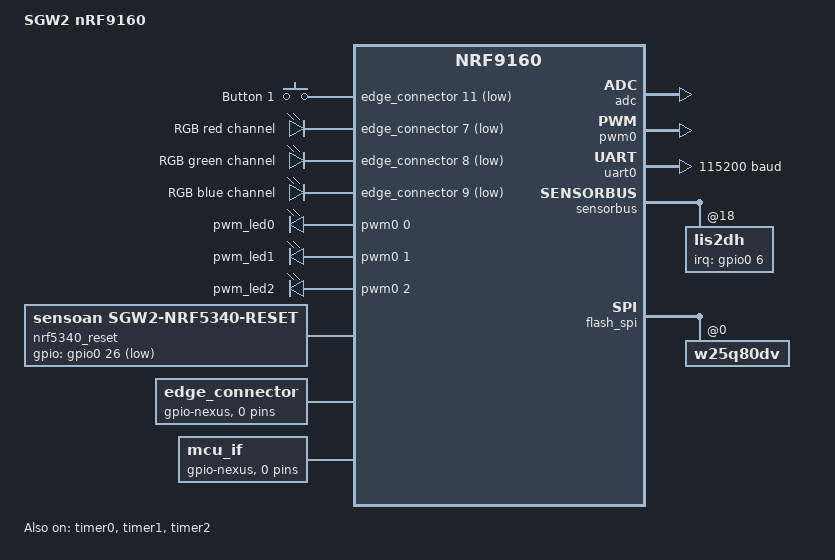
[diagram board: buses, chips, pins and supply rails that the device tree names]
/*
 * Copyright (c) 2022 Nordic Semiconductor ASA
 * Copyright (c) 2024 Sensoan Oy
 *
 * SPDX-License-Identifier: Apache-2.0
 */
#include "sgw2_nrf9160.h"
#include "sgw2_common.dtsi"
#include "sgw2_nrf9160_common-pinctrl.dtsi"

/ {
	model = "SGW2 nRF9160";
	compatible = "sensoan,sgw2-nrf9160";

	chosen {
		zephyr,console = &uart0;
		zephyr,shell-uart = &uart0;
		zephyr,uart-mcumgr = &uart0;
	};

	buttons {
		compatible = "gpio-keys";

		button0: button_0 {
			gpios = <&edge_connector 11 (GPIO_PULL_UP | GPIO_ACTIVE_LOW)>;
			label = "Button 1";
			zephyr,code = <INPUT_KEY_0>;
		};
	};

	leds {
		compatible = "gpio-leds";
		led_red: led_0 {
			gpios = <&edge_connector 7 GPIO_ACTIVE_LOW>;
			label = "RGB red channel";
		};
		led_green: led_1 {
			gpios = <&edge_connector 8 GPIO_ACTIVE_LOW>;
			label = "RGB green channel";
		};
		led_blue: led_2 {
			gpios = <&edge_connector 9 GPIO_ACTIVE_LOW>;
			label = "RGB blue channel";
		};
	};

	pwmleds {
		compatible = "pwm-leds";
		pwm_led0: pwm_led_0 {
			pwms = <&pwm0 0 PWM_MSEC(8) (GPIO_ACTIVE_LOW | PWM_POLARITY_NORMAL)>;
		};
		pwm_led1: pwm_led_1 {
			pwms = <&pwm0 1 PWM_MSEC(8) (GPIO_ACTIVE_LOW | PWM_POLARITY_NORMAL)>;
		};
		pwm_led2: pwm_led_2 {
			pwms = <&pwm0 2 PWM_MSEC(8) (GPIO_ACTIVE_LOW | PWM_POLARITY_NORMAL)>;
		};
	};

	nrf5340_reset: gpio-reset {
		compatible = "sensoan,sgw2-nrf5340-reset";
		status = "okay";
		gpios = <&gpio0 26 GPIO_ACTIVE_LOW>;
	};

	edge_connector: edge_connector {
		compatible = "gpio-nexus";
		#gpio-cells = <2>;
		gpio-map-mask = <0xffffffff 0xffffffc0>;
		gpio-map-pass-thru = <0 0x3f>;
		gpio-map = <7 0 GPIO_AND_PIN(EDGE_CONN, 7) 0>,	/* LED_Red */
				<8 0 GPIO_AND_PIN(EDGE_CONN, 8) 0>,	/* LED_Green */
				<9 0 GPIO_AND_PIN(EDGE_CONN, 9) 0>,	/* LED_Blue */
				<11 0 GPIO_AND_PIN(EDGE_CONN, 11) 0>,	/* BUTTON */
				<17 0 GPIO_AND_PIN(EDGE_CONN, 17) 0>,	/* GPIO */
				<18 0 GPIO_AND_PIN(EDGE_CONN, 18) 0>,	/* GPIO */
				<19 0 GPIO_AND_PIN(EDGE_CONN, 19) 0>,	/* GPIO */
				<20 0 GPIO_AND_PIN(EDGE_CONN, 20) 0>,	/* GPIO */
				<21 0 GPIO_AND_PIN(EDGE_CONN, 21) 0>,	/* GPIO */
				<22 0 GPIO_AND_PIN(EDGE_CONN, 22) 0>,	/* GPIO */
				<23 0 GPIO_AND_PIN(EDGE_CONN, 23) 0>,	/* GPIO */
				<31 0 GPIO_AND_PIN(EDGE_CONN, 31) 0>,	/* I2C_SDA */
				<33 0 GPIO_AND_PIN(EDGE_CONN, 33) 0>,	/* I2C_SCL */
				<38 0 GPIO_AND_PIN(EDGE_CONN, 38) 0>,	/* GPIO */
				<39 0 GPIO_AND_PIN(EDGE_CONN, 39) 0>,	/* GPIO */
				<40 0 GPIO_AND_PIN(EDGE_CONN, 40) 0>,	/* GPIO */
				<41 0 GPIO_AND_PIN(EDGE_CONN, 41) 0>,	/* GPIO */
				<42 0 GPIO_AND_PIN(EDGE_CONN, 42) 0>,	/* GPIO */
				<48 0 GPIO_AND_PIN(EDGE_CONN, 48) 0>;	/* GPIO */
	};

	mcu_if: mcu_if {
		compatible = "gpio-nexus";
		#gpio-cells = <2>;
		gpio-map-mask = <0xffffffff 0xffffffc0>;
		gpio-map-pass-thru = <0 0x3f>;
		gpio-map = <0 0 GPIO_AND_PIN(MCU_IF, 0) 0>,
				<1 0 GPIO_AND_PIN(MCU_IF, 1) 0>,
				<2 0 GPIO_AND_PIN(MCU_IF, 2) 0>,
				<3 0 GPIO_AND_PIN(MCU_IF, 3) 0>,
				<4 0 GPIO_AND_PIN(MCU_IF, 4) 0>,
				<5 0 GPIO_AND_PIN(MCU_IF, 5) 0>,
				<6 0 GPIO_AND_PIN(MCU_IF, 6) 0>;
	};

	aliases {
		sw0 = &button0;
		led0 = &led_red;
		led1 = &led_green;
		led2 = &led_blue;
		pwm-led0 = &pwm_led0;
		pwm-led1 = &pwm_led1;
		pwm-led2 = &pwm_led2;
		rgb-pwm = &pwm0;
		mcuboot-button0 = &button0;
		mcuboot-led0 = &led_blue;
		spi-flash0 = &w25q80dv;
		accel0 = &lis2dh;
		watchdog0 = &wdt0;
	};
};

&adc {
	status = "okay";
};

&gpiote {
	status = "okay";
};

&gpio0 {
	status = "okay";
};

/* PWM0 is intended for RGB LED control */
&pwm0 {
	status = "okay";
	pinctrl-0 = <&pwm0_default>;
	pinctrl-1 = <&pwm0_sleep>;
	pinctrl-names = "default", "sleep";
};

&timer0 {
	status = "okay";
};

&timer1 {
	status = "okay";
};

&timer2 {
	status = "okay";
};

&uart0 {
	compatible = "nordic,nrf-uarte";
	current-speed = <115200>;
	status = "okay";
	pinctrl-0 = <&uart0_default>;
	pinctrl-1 = <&uart0_sleep>;
	pinctrl-names = "default", "sleep";
};

&sensorbus {
	status= "okay";
	lis2dh: lis2dh@18 {
		status = "okay";
		irq-gpios = <&gpio0 6 GPIO_ACTIVE_HIGH>;
	};
};

&flash_spi {
	status = "okay";
	cs-gpios = <&gpio0 7 GPIO_ACTIVE_LOW>;
	w25q80dv: w25q80dv@0 {
		status = "okay";
	};
};

/* Include default memory partition configuration file */
#include <common/nordic/nrf91xx_partition.dtsi>
